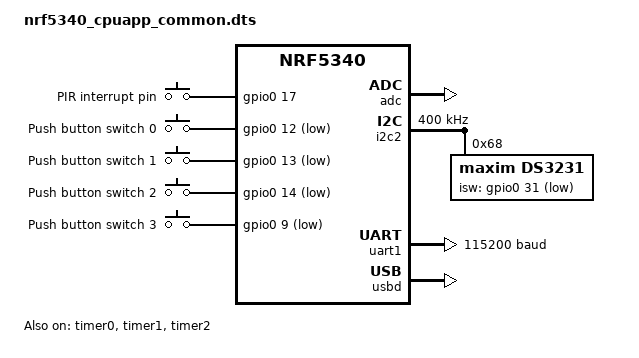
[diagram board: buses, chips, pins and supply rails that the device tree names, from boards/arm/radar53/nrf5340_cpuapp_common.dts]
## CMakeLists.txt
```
cmake_minimum_required(VERSION 3.20.0)
set(LIB_DIR  ${CMAKE_CURRENT_SOURCE_DIR}/ld2410_radar)

find_package(Zephyr REQUIRED HINTS $ENV{ZEPHYR_BASE})
project(radar53)

FILE(GLOB app_sources src/*.c)
target_sources(app PRIVATE ${app_sources})

zephyr_get_include_directories_for_lang_as_string(       C includes)
zephyr_get_system_include_directories_for_lang_as_string(C system_includes)
zephyr_get_compile_definitions_for_lang_as_string(       C definitions)
zephyr_get_compile_options_for_lang_as_string(           C options)
set(external_project_cflags
  "${includes} ${definitions} ${options} ${system_includes}"
  )
include(ExternalProject)

set(ld2410_radar_src_dir   ${CMAKE_CURRENT_SOURCE_DIR}/ld2410_radar)
set(ld2410_radar_build_dir ${CMAKE_CURRENT_BINARY_DIR}/ld2410_radar)

set(LD2410_RADAR_LIB_DIR     ${ld2410_radar_build_dir}/lib)
set(LD2410_RADAR_INCLUDE_DIR ${ld2410_radar_src_dir}/src)

if(CMAKE_GENERATOR STREQUAL "Unix Makefiles")
set(submake "$(MAKE)")
else()
set(submake "make")
endif()

ExternalProject_Add(
  ld2410_radar_project                
  PREFIX     ${ld2410_radar_build_dir}
  SOURCE_DIR ${ld2410_radar_src_dir}
  BINARY_DIR ${ld2410_radar_src_dir}
  CONFIGURE_COMMAND ""
  BUILD_COMMAND
  ${submake}
  PREFIX=${ld2410_radar_build_dir}
  CC=${CMAKE_C_COMPILER}
  AR=${CMAKE_AR}
  CFLAGS=${external_project_cflags}
  INSTALL_COMMAND ""
  BUILD_BYPRODUCTS ${LD2410_RADAR_LIB_DIR}/libld2410_radar.a
)
add_library(ld2410_radar_lib STATIC IMPORTED GLOBAL)
add_dependencies(
  ld2410_radar_lib
  ld2410_radar_project
)
set_target_properties(ld2410_radar_lib PROPERTIES IMPORTED_LOCATION             ${LD2410_RADAR_LIB_DIR}/libld2410_radar.a)
set_target_properties(ld2410_radar_lib PROPERTIES INTERFACE_INCLUDE_DIRECTORIES ${LD2410_RADAR_INCLUDE_DIR})

target_link_libraries(app PUBLIC ld2410_radar_lib)
```

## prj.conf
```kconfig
# choose RTT console
CONFIG_USE_SEGGER_RTT=y
CONFIG_RTT_CONSOLE=y

# Console config
CONFIG_LOG=y
CONFIG_LOG_DEFAULT_LEVEL=4
CONFIG_LOG_BACKEND_RTT=y
CONFIG_DEBUG_THREAD_INFO=y
CONFIG_LOG_PRINTK=y
CONFIG_CONSOLE=y
CONFIG_STDOUT_CONSOLE=y

CONFIG_SYS_CLOCK_EXISTS=y
CONFIG_SERIAL=y
CONFIG_UART_INTERRUPT_DRIVEN=y
CONFIG_UART_1_INTERRUPT_DRIVEN=y
CONFIG_UART_USE_RUNTIME_CONFIGURE=y
```

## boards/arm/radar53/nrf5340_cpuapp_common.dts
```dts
#include "radar53_cpuapp_common-pinctrl.dtsi"

/ {

	chosen {
		zephyr,bt-hci-rpmsg-ipc = &ipc0;
		nordic,802154-spinel-ipc = &ipc0;
		// zephyr,ieee802154 = &ieee802154;
	};


	gpio_fwd: nrf-gpio-forwarder {
		compatible = "nordic,nrf-gpio-forwarder";
		status = "okay";
		uart {
			gpios = <&gpio1 1 0>, <&gpio1 0 0>, <&gpio0 11 0>, <&gpio0 10 0>;
		};
	};

	button {
		compatible = "gpio-keys";
		resetbut: resetbut {
			gpios = <&gpio0 17 GPIO_ACTIVE_HIGH>;
			label = "PIR interrupt pin";
		};
	};

	buttons {
		compatible = "gpio-keys";
		button0: button_0 { 
			gpios = <&gpio0 12 (GPIO_PULL_UP | GPIO_ACTIVE_LOW)>;
			label = "Push button switch 0";
		};
		button1: button_1 {
			gpios = <&gpio0 13 (GPIO_PULL_UP | GPIO_ACTIVE_LOW)>;
			label = "Push button switch 1";
		};
		button2: button_2 {
			gpios = <&gpio0 14 (GPIO_PULL_UP | GPIO_ACTIVE_LOW)>;
			label = "Push button switch 2";
		};
		button3: button_3 {
			gpios = <&gpio0 9 (GPIO_PULL_UP | GPIO_ACTIVE_LOW)>;
			label = "Push button switch 3";
		};
	};

	aliases {
		resetmodem = &resetbut;
		sw0 = &button0;
		sw1 = &button1;
		sw2 = &button2;
		sw3 = &button3;
		watchdog0 = &wdt0;
	};


};

&adc {
	status = "okay";
};

&gpiote {
	status = "okay";
};

&gpio0 {
	status = "okay";
};

&gpio1 {
	status = "okay";
};

&timer0 {
	status = "okay";
};

&timer1 {
	status = "okay";
};

&timer2 {
	status = "okay";
};

&i2c2 {
	compatible = "nordic,nrf-twim";
	status = "okay";
	pinctrl-0 = <&i2c0_default>;
	pinctrl-1 = <&i2c0_sleep>;
	clock-frequency = <400000>;
	pinctrl-names = "default", "sleep";
	ds3231: ds3231@68 {
		status = "okay";
		compatible = "maxim,ds3231";
		reg = <0x68>;
		isw-gpios = <&gpio0 31 (GPIO_PULL_UP | GPIO_ACTIVE_LOW)>;
	};
};
// &uart0 {
// 	status = "okay";
// 	current-speed = <115200>;
// 	parity = "none";
// 	pinctrl-0 = <&uart1_default>;
// 	pinctrl-1 = <&uart1_sleep>;
// 	pinctrl-names = "default", "sleep";
// 	gsm: gsm-modem {
// 		compatible = "zephyr,gsm-ppp";
// 	};
// };

&uart1 {
	status = "okay";
	current-speed = <115200>;
	parity = "none";
	pinctrl-0 = <&uart1_default>;
	pinctrl-1 = <&uart1_sleep>;
	pinctrl-names = "default", "sleep";

};

&flash0 {

	partitions {
		compatible = "fixed-partitions";
		#address-cells = <1>;
		#size-cells = <1>;

		boot_partition: partition@0 {
			label = "mcuboot";
			reg = <0x00000000 0x00010000>;
		};
		slot0_partition: partition@10000 {
			label = "image-0";
		};
		// slot0_ns_partition: partition@50000 {
		// 	label = "image-0-nonsecure";
		// };
		// slot1_partition: partition@80000 {
		// 	label = "image-1";
		// };
		// slot1_ns_partition: partition@c0000 {
		// 	label = "image-1-nonsecure";
		// };
		/* 0xf0000 to 0xf7fff reserved for TF-M partitions */
		storage_partition: partition@f8000 {
			label = "storage";
			reg = <0x000f8000 0x00008000>;
		};
	};
};

// &ieee802154 {
// 	status = "okay";
// };

zephyr_udc0: &usbd {
	compatible = "nordic,nrf-usbd";
	status = "okay";
};

/ {

	reserved-memory {
		#address-cells = <1>;
		#size-cells = <1>;
		ranges;

		sram0_image: image@20000000 {
			/* Zephyr image(s) memory */
		};

		sram0_s: image_s@20000000 {
			/* Secure image memory */
		};

		// sram0_ns: image_ns@20040000 {
		// 	/* Non-Secure image memory */
		// };
	};
};

/* Include partition configuration file */
#include "nrf5340_cpuapp_partition_conf.dts"
```

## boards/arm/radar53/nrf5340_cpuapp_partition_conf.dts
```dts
&slot0_partition {
	reg = <0x00010000 0xE0000>;
};

// &slot0_partition {
// 	reg = <0x00010000 0x40000>;
// };

// &slot0_ns_partition {
// 	reg = <0x00050000 0x30000>;
// };

// &slot1_partition {
// 	reg = <0x00080000 0x40000>;
// };

// &slot1_ns_partition {
// 	reg = <0x000c0000 0x30000>;
// };

/* Default SRAM planning when building for nRF5340 with
 * ARM TrustZone-M support
 * - Lowest 256 kB SRAM allocated to Secure image (sram0_s)
 * - Middle 192 kB allocated to Non-Secure image (sram0_ns)
 * - Upper 64 kB SRAM allocated as Shared memory (sram0_shared)
 *   (see nrf5340_shared_sram_planning_conf.dts)
 */
&sram0_image {
	reg = <0x20000000 DT_SIZE_K(448)>;
};

&sram0_s {
	reg = <0x20000000 0x70000>;
};

// &sram0_s {
// 	reg = <0x20000000 0x40000>;
// };

// &sram0_ns {
// 	reg = <0x20040000 0x30000>;
// };

/* Include shared RAM configuration file */
#include "nrf5340_shared_sram_planning_conf.dts"
```

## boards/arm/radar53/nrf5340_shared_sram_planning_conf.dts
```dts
/ {
	chosen {
		/* shared memory reserved for the inter-processor communication */
		zephyr,ipc_shm = &sram0_shared;
	};

	reserved-memory {
		#address-cells = <1>;
		#size-cells = <1>;
		ranges;

		sram0_shared: memory@20070000 {
			/* SRAM allocated to shared memory */
			reg = <0x20070000 0x10000>;
		};
	};
};
```

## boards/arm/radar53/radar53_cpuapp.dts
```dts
/dts-v1/;
#include <nordic/nrf5340_cpuapp_qkaa.dtsi>
#include "nrf5340_cpuapp_common.dts"

/ {
	model = "Nordic NRF5340 DK NRF5340 Application";
	compatible = "radar,radar53_cpuapp";

	chosen {
		zephyr,sram = &sram0_image;
		zephyr,flash = &flash0;
		zephyr,code-partition = &slot0_partition;
		zephyr,sram-secure-partition = &sram0_s;
		// zephyr,sram-non-secure-partition = &sram0_ns;
	};
}; 
```

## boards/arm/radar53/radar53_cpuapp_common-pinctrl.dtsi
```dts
&pinctrl {
	uart1_default: uart1_default {
		group1 {
		psels = <NRF_PSEL(UART_TX, 0, 21)>,<NRF_PSEL(UART_RX, 0, 19)>;
		};
	};
	uart1_sleep: uart1_sleep {
	  group1 {
		psels = <NRF_PSEL(UART_TX, 0, 21)>,<NRF_PSEL(UART_RX, 0, 19)>;
	  };
	};

	uart2_default: uart2_default {
		group1 {
		psels = <NRF_PSEL(UART_TX, 1, 11)>,<NRF_PSEL(UART_RX, 1, 13)>;
		};
	};
	uart2_sleep: uart2_sleep {
	  group1 {
		psels = <NRF_PSEL(UART_TX, 1, 11)>,<NRF_PSEL(UART_RX, 1, 13)>;
	  };
	};

	i2c0_default: i2c0_default {
		group1 {
			psels = <NRF_PSEL(TWIM_SDA, 0, 5)>,<NRF_PSEL(TWIM_SCL, 1, 12)>;
			bias-pull-up;
		};
	};

	i2c0_sleep: i2c0_sleep {
		group1 {
			psels = <NRF_PSEL(TWIM_SDA, 0, 5)>,<NRF_PSEL(TWIM_SCL, 1, 12)>;
			bias-disable;
			low-power-enable;
		};
	};
};
```

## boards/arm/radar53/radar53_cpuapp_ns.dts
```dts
/dts-v1/;
#include <nordic/nrf5340_cpuappns_qkaa.dtsi>
#include "nrf5340_cpuapp_common.dts"

/ {
	model = "Nordic NRF5340 DK NRF5340 Application";
	compatible = "radar,radar53_cpuapp";


	chosen {
		zephyr,sram = &sram0_s;
		zephyr,flash = &flash0;
		zephyr,code-partition = &slot0_partition;
	};
	// chosen {
		//     zephyr,sram = &sram0_ns;
		//     zephyr,flash = &flash0;
		//     zephyr,code-partition = &slot0_ns_partition;
	// };
};
```

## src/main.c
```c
#include <zephyr/kernel.h>
#include <zephyr/device.h>
#include <zephyr/drivers/uart.h>
#include <hal/nrf_uarte.h>
#include "string.h"
#include <zephyr/logging/log.h>
#include "ld2410_radar.h"
LOG_MODULE_REGISTER(MAIN, LOG_LEVEL_DBG);
#define RADAR_NODE DT_NODELABEL(uart1)
K_MSGQ_DEFINE(uart_msgq, 1, 128, 0);

ld2410_radar_data_payload_t report;
ld2410_radar_parameter_payload_t sensor_settings;
ld2410_radar_fw_payload_t fw_version;
static const struct device *const radar_dev = DEVICE_DT_GET(RADAR_NODE);

void uart_irq_callback(const struct device *dev, void *user_data)
{
	uint8_t c;
	uint8_t oc;

	if (!uart_irq_update(dev))
	{
		return;
	}

	if (!uart_irq_rx_ready(dev))
	{
		return;
	}
	while (uart_fifo_read(dev, &c, 1) == 1)
	{
		if (k_msgq_num_free_get(&uart_msgq) == 0)
		{
			k_msgq_get(&uart_msgq, &oc, K_NO_WAIT);
		}
		k_msgq_put(&uart_msgq, &c, K_NO_WAIT);
	}
}
void write_to_uart(const uint8_t *buf, size_t len)
{
	for (int i = 0; i < len; i++)
	{
		uart_poll_out(radar_dev, buf[i]);
	}
}
int pull_radar_uart_queue(uint8_t *inByte)
{
	return k_msgq_get(&uart_msgq, inByte, K_MSEC(100));
}
unsigned long get_uptime_ms()
{
	return (unsigned long)k_uptime_get();
}
static uint32_t get_uart_baudrate_value(unsigned long long bps)
{
	return ((bps) * (4294967296ULL) / 16000000ULL);
}
ld2410_radar_ack_results_t change_ld2410_sensor_baudrate(unsigned long long bps)
{
	// Write bauderate command
	if (ld2410_radar_set_baudrate(bps) == ld2410_radar_ack_results_success)
	{
		LOG_WRN("Baudrate changed Successfully\n");
		// If success change baudrate in nrfconnect sdk
		uint32_t baudrate_reg = get_uart_baudrate_value(bps); // Default values in nrfconnect sdk dont have 256k baudrate.
		// If using a different UART like uart2 use NRF_UARTE2
		NRF_UARTE1->BAUDRATE = baudrate_reg;
		return ld2410_radar_ack_results_success;
	}
	else
	{
		LOG_WRN("Baudrate change Failed\n");
		return ld2410_radar_ack_results_fail;
	}
}
unsigned long long find_ld2410_current_baudrate()
{
	uint32_t baudrate_reg;

	baudrate_reg = get_uart_baudrate_value(115200ULL);
	NRF_UARTE1->BAUDRATE = baudrate_reg;
	ld2410_radar_enter_command_mode();
	ld2410_radar_exit_command_mode();
	if (ld2410_radar_read_data_frame(&report) == ld2410_radar_ack_results_success)
	{
		return 115200ULL;
	}
	baudrate_reg = get_uart_baudrate_value(256000ULL);
	NRF_UARTE1->BAUDRATE = baudrate_reg;
	ld2410_radar_enter_command_mode();
	ld2410_radar_exit_command_mode();
	if (ld2410_radar_read_data_frame(&report) == ld2410_radar_ack_results_success)
	{
		return 256000ULL;
	}
	baudrate_reg = get_uart_baudrate_value(9600ULL);
	NRF_UARTE1->BAUDRATE = baudrate_reg;
	ld2410_radar_enter_command_mode();
	ld2410_radar_exit_command_mode();
	if (ld2410_radar_read_data_frame(&report) == ld2410_radar_ack_results_success)
	{
		return 9600ULL;
	}
	baudrate_reg = get_uart_baudrate_value(19200ULL);
	NRF_UARTE1->BAUDRATE = baudrate_reg;
	ld2410_radar_enter_command_mode();
	ld2410_radar_exit_command_mode();
	if (ld2410_radar_read_data_frame(&report) == ld2410_radar_ack_results_success)
	{
		return 19200ULL;
	}
	baudrate_reg = get_uart_baudrate_value(38400ULL);
	NRF_UARTE1->BAUDRATE = baudrate_reg;
	ld2410_radar_enter_command_mode();
	ld2410_radar_exit_command_mode();
	if (ld2410_radar_read_data_frame(&report) == ld2410_radar_ack_results_success)
	{
		return 38400ULL;
	}
	baudrate_reg = get_uart_baudrate_value(57600ULL);
	NRF_UARTE1->BAUDRATE = baudrate_reg;
	ld2410_radar_enter_command_mode();
	ld2410_radar_exit_command_mode();
	if (ld2410_radar_read_data_frame(&report) == ld2410_radar_ack_results_success)
	{
		return 57600ULL;
	}
	baudrate_reg = get_uart_baudrate_value(230400ULL);
	NRF_UARTE1->BAUDRATE = baudrate_reg;
	ld2410_radar_enter_command_mode();
	ld2410_radar_exit_command_mode();
	if (ld2410_radar_read_data_frame(&report) == ld2410_radar_ack_results_success)
	{
		return 230400ULL;
	}

	baudrate_reg = get_uart_baudrate_value(460800ULL);
	NRF_UARTE1->BAUDRATE = baudrate_reg;
	ld2410_radar_enter_command_mode();
	ld2410_radar_exit_command_mode();
	if (ld2410_radar_read_data_frame(&report) == ld2410_radar_ack_results_success)
	{
		return 460800ULL;
	}
	return 0;
}

void main(void)
{
	uart_irq_callback_user_data_set(radar_dev, uart_irq_callback, NULL);
	uart_irq_rx_enable(radar_dev);

	ld2410_radar_init_callbacks(get_uptime_ms, pull_radar_uart_queue, write_to_uart);
	printk("Starting\n");
	// Check current baudrate
	unsigned long long current_br = find_ld2410_current_baudrate();
	while (current_br == 0)
	{
		current_br = find_ld2410_current_baudrate();
	}
	printk("current baudrate %llu\n", current_br);
	if (current_br != 115200ULL)
	{
		while (ld2410_radar_factory_reset() != ld2410_radar_ack_results_success)
		{
		}
		printk("Factory reset Success\n");
		uint32_t baudrate_reg = get_uart_baudrate_value(256000ULL);
		NRF_UARTE1->BAUDRATE = baudrate_reg;
		while (change_ld2410_sensor_baudrate(115200ULL) == ld2410_radar_ack_results_fail)
		{
			k_msleep(10);
		}
	}

	if (ld2410_radar_get_fw_version(&fw_version) == ld2410_radar_ack_results_success)
	{
		printk("FW Read Success %02x.%02x.%02x%02x%02x%02x\n",
			   fw_version.major_version,
			   fw_version.minor_version,
			   fw_version.bugfix_version1,
			   fw_version.bugfix_version2,
			   fw_version.bugfix_version3,
			   fw_version.bugfix_version4);
	}
	else
	{
		printk("FW Read Failed\n");
	}

	while (ld2410_radar_bluetooth_off() != ld2410_radar_ack_results_success)
	{
		printk("Bluetooth off failed\n");
	}
	printk("Bluetooth off success\n");

	k_msleep(1000);

	while (ld2410_radar_set_gate_sensitivity(ld2410_radar_gate_0, 100, 100) != ld2410_radar_ack_results_success)
	{
		printk("Gate Sensitivity fail \n");
	}
	printk("Gate Sensitivity success \n");
	while (ld2410_radar_start_engineering_mode() == ld2410_radar_ack_results_fail)
	{
	}
	while (true)
	{
		if (ld2410_radar_read_data_frame(&report) != ld2410_radar_ack_results_success)
		{
			continue;
		}

		if (report.measurement_value.basic_values.data_type == 0x02)
		{
			LOG_WRN("Basic State: %d,", report.measurement_value.basic_values.state);
			LOG_WRN(" Moving energy: %d,", report.measurement_value.basic_values.moving_energy);
			LOG_WRN(" Moving distance: %d,", report.measurement_value.basic_values.moving_distance);
			LOG_WRN(" Stationary energy: %d,", report.measurement_value.basic_values.stationary_energy);
			LOG_WRN(" Stationary distance: %d,", report.measurement_value.basic_values.stationary_distance);
			LOG_WRN(" Detection distance: %d\n", report.measurement_value.basic_values.detection_distance);
		}
		else if (report.measurement_value.engineering_values.data_type == 0x01)
		{
			LOG_WRN("Engineering State: %d,", report.measurement_value.engineering_values.state);
			LOG_WRN(" Moving energy: %d,", report.measurement_value.engineering_values.moving_energy);
			LOG_WRN(" Moving distance: %d,", report.measurement_value.engineering_values.moving_distance);
			LOG_WRN(" Stationary energy: %d,", report.measurement_value.engineering_values.stationary_energy);
			LOG_WRN(" Stationary distance: %d,", report.measurement_value.engineering_values.stationary_distance);
			LOG_WRN(" Detection distance: %d", report.measurement_value.engineering_values.detection_distance);
			LOG_WRN(" Photo Sensor: %d\n", report.measurement_value.engineering_values.photo_sensor);
		}
	}
}
```
